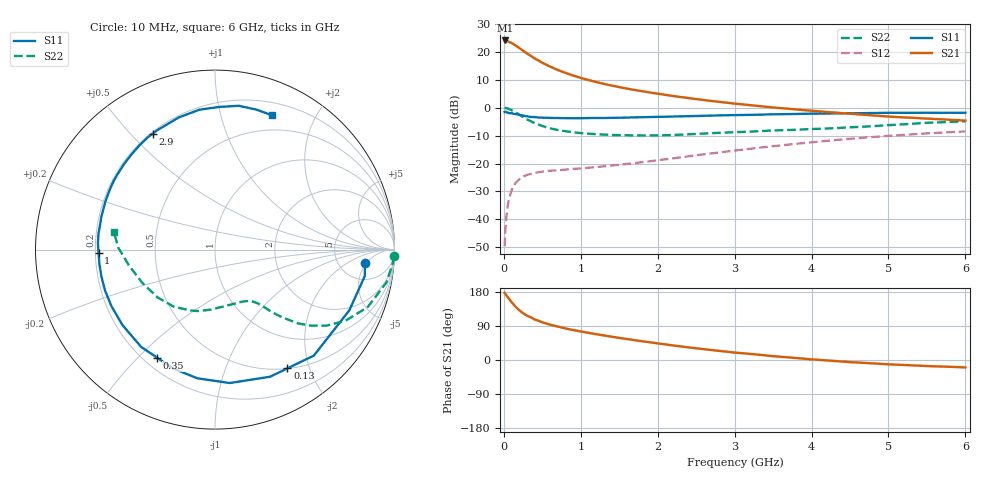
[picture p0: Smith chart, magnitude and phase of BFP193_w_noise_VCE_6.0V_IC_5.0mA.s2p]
! Infineon Technologies  Discrete & RF Semiconductors
! BFP193
! VCE =  6.0 V,  IC =  5.0 mA
! Common Emitter S-Parameters:  Jan 2017
# GHz  S  MA  R  50
!  f  S11  S21  S12  S22
! GHz  MAG  ANG  MAG  ANG  MAG  ANG  MAG  ANG
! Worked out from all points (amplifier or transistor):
!   77 points, 10 MHz to 6 GHz, reference 50 ohm
!   highest |S21| = 24.1 dB at 20 MHz (marker M1)
!   |S21| within 3 dB of that: start of sweep to 216.4 MHz
!   unconditionally stable (mu >= 1): 1.401 GHz to 2.635 GHz
!   at 130 MHz: K = 0.13, MSG = 25.4 dB, |S12| = -28.0 dB
!   at 2.2 GHz: K = 1.06, MAG = 9.7 dB, |S12| = -18.2 dB
!   at 6 GHz: K = 0.86, MSG = 1.9 dB, |S12| = -8.5 dB
!   lowest NFmin = 0.92 dB at 450 MHz
!   S11 on the Smith chart (normalised r, x): 10 MHz: 9, -5; 130 MHz: 0.50, -1.67; 350 MHz: 0.25, -0.57; 1 GHz: 0.21, -0.01; 2.9 GHz: 0.21, +0.58; 6 GHz: 0.33, +1.46
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0.01  0.8388 -5.1  15.94 177.2  0.0033 84.3  1 -2.2
0.02  0.8476 -10.0  16.08 174.4  0.0065 87.1  0.9923 -4.6
0.05  0.8214 -24.3  15.61 165.7  0.0175 77.7  0.9724 -10.9
0.1  0.8076 -47.0  14.59 152.7  0.0328 67.8  0.9091 -20.6
0.13  0.7751 -58.6  13.67 146.0  0.0397 60.7  0.859 -25.2
0.15  0.7719 -66.6  13.17 141.0  0.0446 57.3  0.8289 -28.5
0.2  0.7479 -83.7  11.81 131.6  0.0521 51.6  0.7519 -34.3
0.25  0.7237 -97.8  10.55 123.3  0.0582 45.3  0.6806 -38.5
0.3  0.7026 -109.3  9.406 117.2  0.0624 41.7  0.6196 -41.6
0.35  0.6832 -118.1  8.509 112.7  0.0651 38.9  0.5749 -43.3
0.4  0.6806 -127.2  7.678 107.1  0.068 36.4  0.5307 -45.3
0.5  0.6652 -140.8  6.397 99.5  0.0714 33.8  0.4707 -47.7
0.6  0.6575 -151.2  5.479 93.3  0.0744 32.6  0.4285 -49.2
1  0.649 -178.2  3.431 75.3  0.0816 34.4  0.3511 -55.0
1.1  0.6533 176.8  3.139 71.7  0.0841 35.2  0.343 -56.7
1.5  0.6616 160.0  2.342 58.4  0.0951 39.7  0.3221 -66.2
2.1  0.6902 139.5  1.703 41.2  0.1191 45.4  0.3221 -84.1
2.9  0.7333 118.3  1.23 21.9  0.1641 46.5  0.36 -108.8
3.1  0.7416 113.7  1.15 17.9  0.1772 45.7  0.3686 -114.7
4.1  0.7854 94.6  0.861 0.3  0.2473 38.8  0.4197 -143.4
5.1  0.8114 79.2  0.683 -12.3  0.3201 27.3  0.4959 -172.0
6  0.8127 66.9  0.589 -19.5  0.377 16.2  0.5727 170.1
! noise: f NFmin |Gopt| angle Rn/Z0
0.45  0.92  0.28  104  0.1
0.9  1.03  0.39  150  0.07
1.9  1.97  0.61  -151  0.13
2.4  2.42  0.67  -131  0.35
